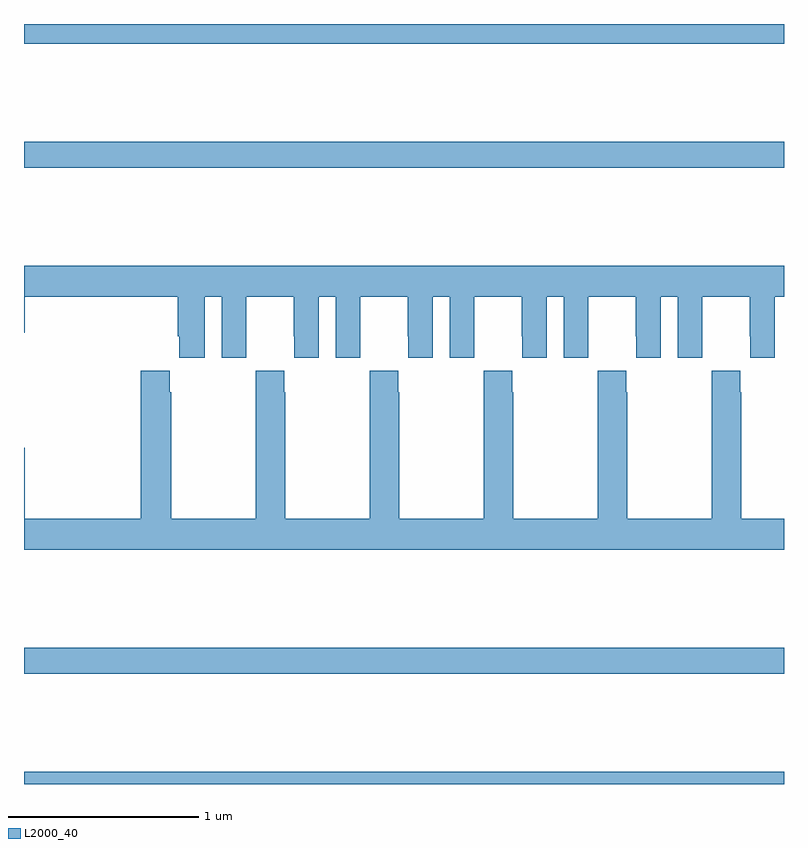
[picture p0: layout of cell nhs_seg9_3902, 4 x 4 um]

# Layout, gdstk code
import gdstk
lib = gdstk.Library(unit=1e-6, precision=1e-09)
def R(c, l, rs):  # rectangles x0, y0, x1, y1
    for r in rs: c.add(gdstk.rectangle(r[:2], r[2:], *l))
def P(c, l, *ps):  # polygons
    for p in ps: c.add(gdstk.Polygon(p, *l))
L2000_40 = (2000, 40)

nhs_seg9_3902 = lib.new_cell('nhs_seg9_3902')
R(nhs_seg9_3902, L2000_40, [(333,1216.5,337,1216.564), (333,1217.08,337,1217.216), (333,1219.744,337,1219.88), (333,1220.396,337,1220.5)])
P(nhs_seg9_3902, L2000_40, [(333.952,1219.064),(334.04,1219.064),(334.04,1218.744),(334.17,1218.744),(334.17,1218.856),(334.171,1218.856),(334.171,1219.064),(334.421,1219.064),(334.421,1218.856),(334.422,1218.856),(334.422,1218.744),(334.552,1218.744),(334.552,1219.064),(334.64,1219.064),(334.64,1218.744),(334.77,1218.744),(334.77,1218.856),(334.771,1218.856),(334.771,1219.064),(335.021,1219.064),(335.021,1218.856),(335.022,1218.856),(335.022,1218.744),(335.152,1218.744),(335.152,1219.064),(335.24,1219.064),(335.24,1218.744),(335.37,1218.744),(335.37,1218.856),(335.371,1218.856),(335.371,1219.064),(335.621,1219.064),(335.621,1218.856),(335.622,1218.856),(335.622,1218.744),(335.752,1218.744),(335.752,1219.064),(335.84,1219.064),(335.84,1218.744),(335.97,1218.744),(335.97,1218.856),(335.971,1218.856),(335.971,1219.064),(336.221,1219.064),(336.221,1218.856),(336.222,1218.856),(336.222,1218.744),(336.352,1218.744),(336.352,1219.064),(336.44,1219.064),(336.44,1218.744),(336.57,1218.744),(336.57,1218.856),(336.571,1218.856),(336.571,1219.064),(336.821,1219.064),(336.821,1218.856),(336.822,1218.856),(336.822,1218.744),(336.952,1218.744),(336.952,1219.064),(337,1219.064),(337,1219.228),(333,1219.228),(333,1218.876),(333.004,1218.876),(333.004,1219.064),(333.809,1219.064),(333.809,1218.856),(333.818,1218.856),(333.818,1218.744),(333.952,1218.744)],
  [(336.021,1218.676),(336.021,1218.563),(336.019,1218.563),(336.019,1217.896),(335.574,1217.896),(335.574,1218.563),(335.571,1218.563),(335.571,1218.676),(335.421,1218.676),(335.421,1218.563),(335.419,1218.563),(335.419,1217.896),(334.974,1217.896),(334.974,1218.563),(334.971,1218.563),(334.971,1218.676),(334.821,1218.676),(334.821,1218.563),(334.819,1218.563),(334.819,1217.896),(334.374,1217.896),(334.374,1218.563),(334.371,1218.563),(334.371,1218.676),(334.221,1218.676),(334.221,1218.563),(334.219,1218.563),(334.219,1217.896),(333.774,1217.896),(333.774,1218.563),(333.767,1218.563),(333.767,1218.676),(333.614,1218.676),(333.614,1217.896),(333.004,1217.896),(333.004,1218.271),(333,1218.271),(333,1217.732),(337,1217.732),(337,1217.896),(336.774,1217.896),(336.774,1218.563),(336.771,1218.563),(336.771,1218.676),(336.621,1218.676),(336.621,1218.563),(336.619,1218.563),(336.619,1217.896),(336.174,1217.896),(336.174,1218.563),(336.171,1218.563),(336.171,1218.676)])

lib.write_gds('nhs_seg9_3902.gds')
